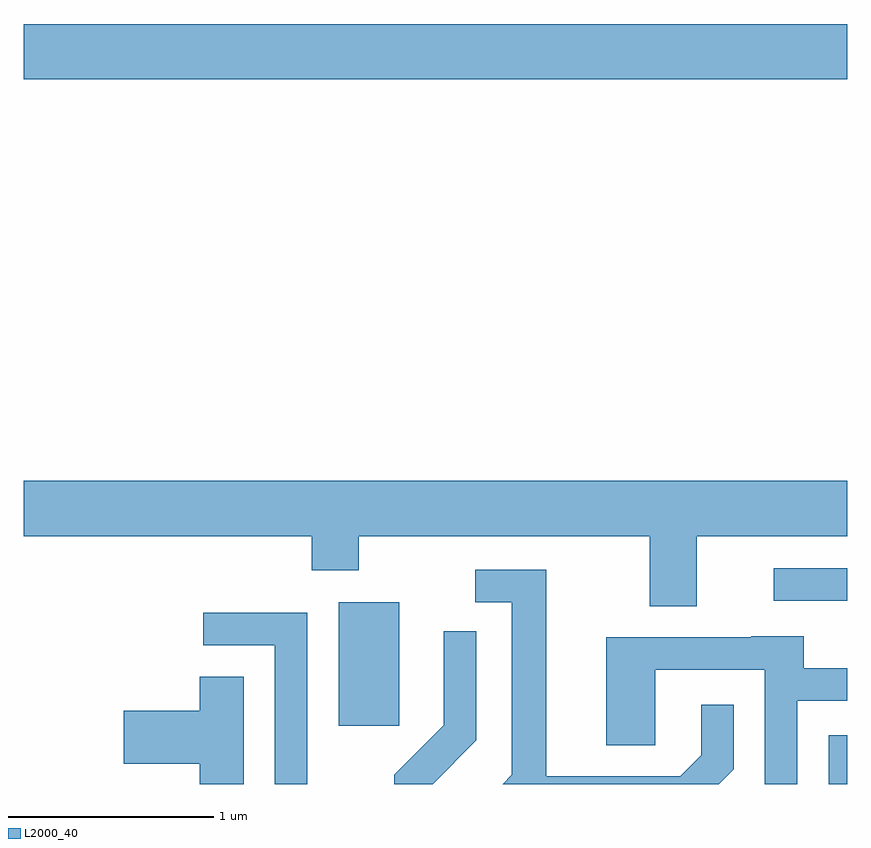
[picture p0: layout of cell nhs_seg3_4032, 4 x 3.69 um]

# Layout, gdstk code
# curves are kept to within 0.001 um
import gdstk
lib = gdstk.Library(unit=1e-6, precision=1e-09)
def R(c, l, rs):  # rectangles x0, y0, x1, y1
    for r in rs: c.add(gdstk.rectangle(r[:2], r[2:], *l))
def P(c, l, *ps):  # polygons
    for p in ps: c.add(gdstk.Polygon(p, *l))
L2000_40 = (2000, 40)

nhs_seg3_4032 = lib.new_cell('nhs_seg3_4032')
R(nhs_seg3_4032, L2000_40, [(307.521,1155.892,307.611,1156.129), (305.141,1156.176,305.434,1156.774), (307.253,1156.781,307.611,1156.939), (303.611,1159.316,307.611,1159.584)])
P(nhs_seg3_4032, L2000_40, [(306.879,1157.096),(307.611,1157.096),(307.611,1157.364),(303.611,1157.364),(303.611,1157.096),(305.011,1157.096),(305.011,1156.931),(305.239,1156.931),(305.239,1157.096),(306.651,1157.096),(306.651,1156.756),(306.879,1156.756)],
  [(307.059,1155.964),(307.059,1156.278),(306.901,1156.278),(306.901,1156.032),(306.799,1155.929),(306.149,1155.929),(306.149,1156.934),(305.803,1156.934),(305.803,1156.776),(305.981,1156.776),(305.981,1155.937),(305.937,1155.892),(306.987,1155.892)],
  [(304.989,1156.724),(304.483,1156.724),(304.483,1156.566),(304.831,1156.566),(304.831,1155.892),(304.989,1155.892)],
  [(305.809,1156.104),(305.809,1156.633),(305.651,1156.633),(305.651,1156.177),(305.411,1155.937),(305.411,1155.892),(305.597,1155.892)],
  [(307.369,1156.296),(307.611,1156.296),(307.611,1156.454),(307.399,1156.454),(307.399,1156.609),(307.145,1156.609),(307.145,1156.604),(306.441,1156.604),(306.441,1156.081),(306.679,1156.081),(306.679,1156.446),(307.211,1156.446),(307.211,1155.892),(307.369,1155.892)],
  [(304.679,1156.414),(304.466,1156.414),(304.466,1156.249),(304.096,1156.249),(304.096,1155.991),(304.466,1155.991),(304.466,1155.892),(304.679,1155.892)])

lib.write_gds('nhs_seg3_4032.gds')
